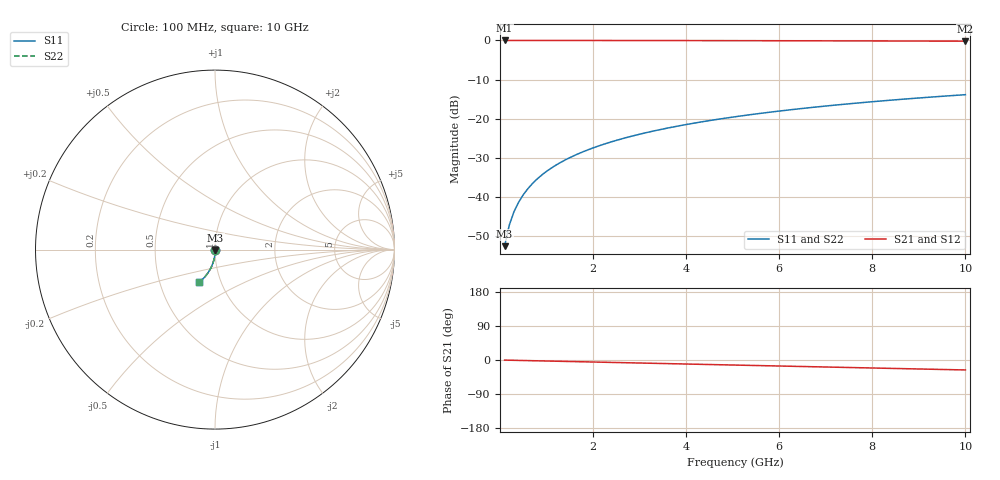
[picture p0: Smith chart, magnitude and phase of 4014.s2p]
# Hz S RI R 50.00
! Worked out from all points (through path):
!   100 points, 100 MHz to 10 GHz, reference 50 ohm
!   highest |S21| = -0.01 dB at 100 MHz (marker M1); lowest = -0.2 dB at 10 GHz (marker M2)
!   group delay of S21, straight-line fit = 7.3 ps
!   lowest |S11| = -52.6 dB at 100 MHz (marker M3), VSWR 1.00, Z = 50.1 - j0.212 ohm
!   |S11| at or under -10 dB: start of sweep to end of sweep
!   |S22| runs from -52.6 to -13.9 dB; largest |S21 - S12| = 0
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1e8  0.001 -0.00212  0.999 -0.00462  0.999 -0.00462  0.001 -0.00212
2e8  0.000975 -0.00424  0.9989 -0.00925  0.9989 -0.00925  0.000975 -0.00424
3e8  0.000927 -0.00636  0.9988 -0.0139  0.9988 -0.0139  0.000927 -0.00636
4e8  0.00086 -0.00848  0.9987 -0.0185  0.9987 -0.0185  0.00086 -0.00848
5e8  0.000772 -0.0106  0.9986 -0.0231  0.9986 -0.0231  0.000772 -0.0106
6e8  0.000664 -0.0127  0.9985 -0.0277  0.9985 -0.0277  0.000664 -0.0127
7e8  0.000536 -0.0148  0.9983 -0.0324  0.9983 -0.0324  0.000536 -0.0148
8e8  0.000389 -0.0169  0.9981 -0.037  0.9981 -0.037  0.000389 -0.0169
9e8  0.000221 -0.0191  0.9979 -0.0416  0.9979 -0.0416  0.000221 -0.0191
1.1e9  -0.000172 -0.0233  0.9973 -0.0508  0.9973 -0.0508  -0.000172 -0.0233
1.4e9  -0.000909 -0.0296  0.9964 -0.0647  0.9964 -0.0647  -0.000909 -0.0296
1.8e9  -0.00216 -0.038  0.9947 -0.0831  0.9947 -0.0831  -0.00216 -0.038
2.1e9  -0.00331 -0.0442  0.9932 -0.0968  0.9932 -0.0968  -0.00331 -0.0442
2.5e9  -0.0051 -0.0525  0.9908 -0.1151  0.9908 -0.1151  -0.0051 -0.0525
2.9e9  -0.0072 -0.0607  0.988 -0.1334  0.988 -0.1334  -0.0072 -0.0607
3.4e9  -0.0102 -0.0709  0.9839 -0.156  0.9839 -0.156  -0.0102 -0.0709
4.2e9  -0.0161 -0.0867  0.9762 -0.192  0.9762 -0.192  -0.0161 -0.0867
5.1e9  -0.024 -0.104  0.9656 -0.2318  0.9656 -0.2318  -0.024 -0.104
5.9e9  -0.0322 -0.1187  0.9545 -0.2666  0.9545 -0.2666  -0.0322 -0.1187
6.7e9  -0.0414 -0.1327  0.9421 -0.3007  0.9421 -0.3007  -0.0414 -0.1327
8.4e9  -0.0641 -0.1599  0.9111 -0.3706  0.9111 -0.3706  -0.0641 -0.1599
1e10  -0.0888 -0.1819  0.8767 -0.4327  0.8767 -0.4327  -0.0888 -0.1819
